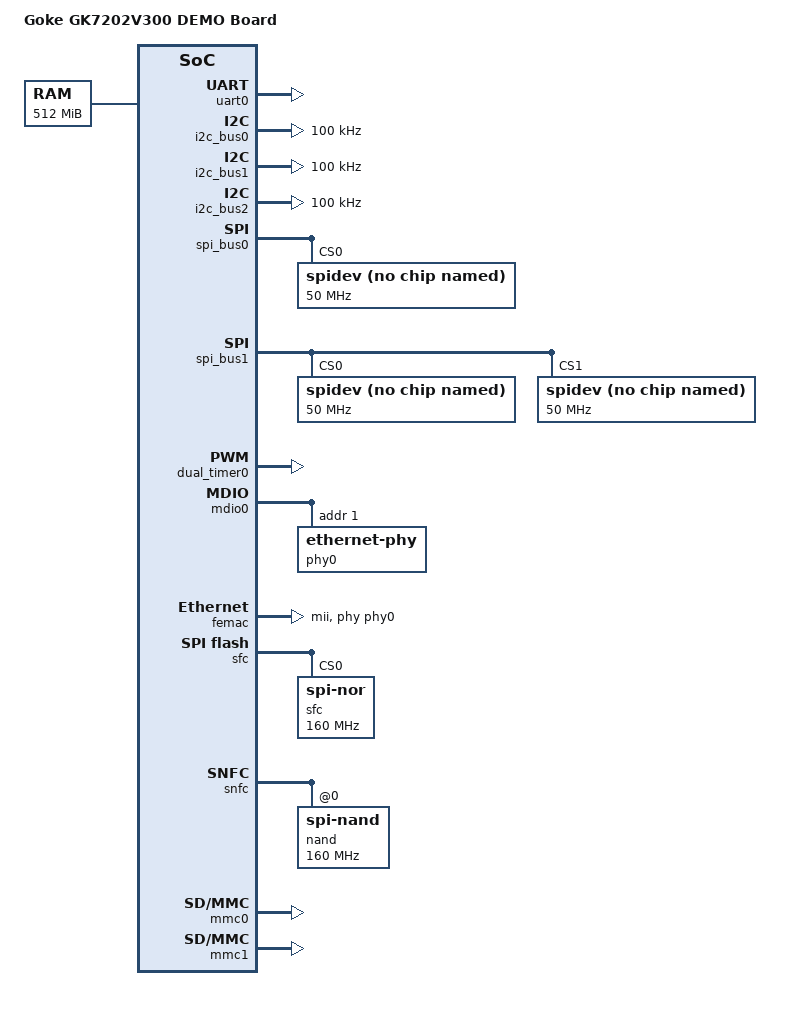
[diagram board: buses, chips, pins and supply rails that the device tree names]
/*
 * Copyright (c) Hunan Goke,Chengdu Goke,Shandong Goke. 2021. All rights reserved.
 */

/dts-v1/;
#include "gk7202v300.dtsi"

/ {
	model = "Goke GK7202V300 DEMO Board";
	compatible = "goke,gk7202v300";

	memory {
		device_type = "memory";
		reg = <0x40000000 0x20000000>;
	};
};

&uart0 {
	status = "okay";
};

&uart1 {
	status = "disabled";
};

&uart2 {
	status = "disabled";
};

&i2c_bus0 {
	status = "okay";
	clock-frequency = <100000>;
};

&i2c_bus1 {
	status = "okay";
	clock-frequency = <100000>;
};

&i2c_bus2 {
	status = "okay";
	clock-frequency = <100000>;
};

&spi_bus0{
	status = "okay";
	num-cs = <1>;

	spidev@0 {
		compatible = "rohm,dh2228fv";
		reg = <0>;
		pl022,interface = <0>;
		pl022,com-mode = <0>;
		spi-max-frequency = <50000000>;
	};
};

&spi_bus1{
	status = "okay";
	num-cs = <2>;

	spidev@0 {
		compatible = "rohm,dh2228fv";
		reg = <0>;
		pl022,interface = <0>;
		pl022,com-mode = <0>;
		spi-max-frequency = <50000000>;
	};
	spidev@1 {
		compatible = "rohm,dh2228fv";
		reg = <1>;
		pl022,interface = <0>;
		pl022,com-mode = <0>;
		spi-max-frequency = <50000000>;
	};
};

&dual_timer0 {
	status = "okay";
};

&mdio0 {
	goke,phy-reset-delays-us = <10000 20000 150000>;
	phy0: ethernet-phy@1 {
		reg = <1>;
	};
};

&femac {
	mac-address = [00 00 00 00 00 00];
	phy-mode = "mii";
	phy-handle = <&phy0>;
	status = "okay";
};

&sfc {
	sfc {
		compatible = "jedec,spi-nor";
		reg = <0>;
		spi-max-frequency = <160000000>;
	};
};

&snfc {
	nand {
		compatible = "jedec,spi-nand";
		reg = <0>;
		spi-max-frequency = <160000000>;
	};
};

&mmc0 {
	status = "okay";
};

&mmc1 {
	status = "okay";
};

&gpio_chip0 {
	status = "okay";
};

&gpio_chip1 {
	status = "okay";
};

&gpio_chip2 {
	status = "okay";
};

&gpio_chip4 {
	status = "okay";
};

&gpio_chip5 {
	status = "okay";
};

&gpio_chip6 {
	status = "okay";
};

&gpio_chip7 {
	status = "okay";
};

&gpio_chip8 {
	status = "okay";
};

